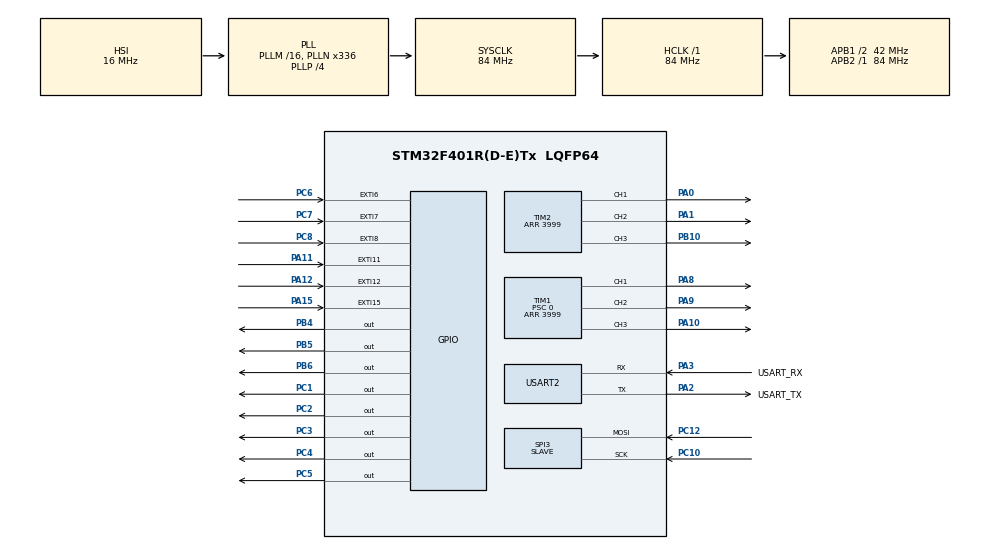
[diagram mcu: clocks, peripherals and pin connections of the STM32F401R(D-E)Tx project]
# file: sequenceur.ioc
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Mcu.Family=STM32F4
Mcu.Name=STM32F401R(D-E)Tx
Mcu.Package=LQFP64
NVIC.EXTI15_10_IRQn=true\:0\:0\:false\:false\:true\:true\:true\:true
NVIC.EXTI9_5_IRQn=true\:0\:0\:false\:false\:true\:true\:true\:true
NVIC.PVD_IRQn=true\:0\:0\:false\:false\:true\:true\:true\:true
NVIC.PriorityGroup=NVIC_PRIORITYGROUP_0
NVIC.SPI3_IRQn=true\:0\:0\:false\:false\:true\:true\:true\:true
PA0-WKUP.Signal=S_TIM2_CH1_ETR
PA1.Signal=S_TIM2_CH2
PA10.Signal=S_TIM1_CH3
PA11.GPIO_ModeDefaultEXTI=GPIO_MODE_IT_RISING_FALLING
PA11.GPIO_PuPd=GPIO_PULLUP
PA11.Signal=GPXTI11
PA12.GPIO_ModeDefaultEXTI=GPIO_MODE_IT_RISING_FALLING
PA12.GPIO_PuPd=GPIO_PULLUP
PA12.Signal=GPXTI12
PA13.GPIO_Label=TMS
PA13.Mode=Serial_Wire
PA13.Signal=SYS_JTMS-SWDIO
PA14.GPIO_Label=TCK
PA14.Mode=Serial_Wire
PA14.Signal=SYS_JTCK-SWCLK
PA15.GPIO_ModeDefaultEXTI=GPIO_MODE_IT_RISING_FALLING
PA15.GPIO_PuPd=GPIO_PULLUP
PA15.Signal=GPXTI15
PA2.GPIO_Label=USART_TX
PA2.GPIO_Mode=GPIO_MODE_AF_PP
PA2.GPIO_PuPd=GPIO_NOPULL
PA2.GPIO_Speed=GPIO_SPEED_FREQ_LOW
PA2.Mode=Asynchronous
PA2.Signal=USART2_TX
PA3.GPIO_Label=USART_RX
PA3.GPIO_Mode=GPIO_MODE_AF_PP
PA3.GPIO_PuPd=GPIO_NOPULL
PA3.GPIO_Speed=GPIO_SPEED_FREQ_LOW
PA3.Mode=Asynchronous
PA3.Signal=USART2_RX
PA8.Signal=S_TIM1_CH1
PA9.Signal=S_TIM1_CH2
PB10.Signal=S_TIM2_CH3
PB3.GPIO_Label=SWO
PB3.Signal=SYS_JTDO-SWO
PB4.Signal=GPIO_Output
PB5.Signal=GPIO_Output
PB6.Signal=GPIO_Output
PB9.GPIO_Pu=GPIO_PULLUP
PB9.Signal=I2C1_SDA
PC1.Signal=GPIO_Output
PC10.Mode=RX_Only_Simplex_Unidirect_Slave
PC10.Signal=SPI3_SCK
PC12.Mode=RX_Only_Simplex_Unidirect_Slave
PC12.Signal=SPI3_MOSI
PC14-OSC32_IN.Mode=LSE-External-Oscillator
PC14-OSC32_IN.Signal=RCC_OSC32_IN
PC15-OSC32_OUT.Mode=LSE-External-Oscillator
PC15-OSC32_OUT.Signal=RCC_OSC32_OUT
PC2.Signal=GPIO_Output
PC3.Signal=GPIO_Output
PC4.Signal=GPIO_Output
PC5.Signal=GPIO_Output
PC6.GPIO_ModeDefaultEXTI=GPIO_MODE_IT_RISING_FALLING
PC6.GPIO_PuPd=GPIO_PULLUP
PC6.Signal=GPXTI6
PC7.GPIO_ModeDefaultEXTI=GPIO_MODE_IT_RISING_FALLING
PC7.GPIO_PuPd=GPIO_PULLUP
PC7.Signal=GPXTI7
PC8.GPIO_ModeDefaultEXTI=GPIO_MODE_IT_RISING_FALLING
PC8.GPIO_PuPd=GPIO_PULLUP
PC8.Signal=GPXTI8
PH0\ -\ OSC_IN.Mode=HSE-External-Clock-Source
PH0\ -\ OSC_IN.Signal=RCC_OSC_IN
PH1\ -\ OSC_OUT.Mode=HSE-External-Clock-Source
PH1\ -\ OSC_OUT.Signal=RCC_OSC_OUT
ProjectManager.HeapSize=0x200
ProjectManager.StackSize=0x400
ProjectManager.TargetToolchain=STM32CubeIDE
RCC.48MHZClocksFreq_Value=48000000
RCC.AHBFreq_Value=84000000
RCC.APB1CLKDivider=RCC_HCLK_DIV2
RCC.APB1Freq_Value=42000000
RCC.APB1TimFreq_Value=84000000
RCC.APB2Freq_Value=84000000
RCC.APB2TimFreq_Value=84000000
RCC.CortexFreq_Value=84000000
RCC.HCLKFreq_Value=84000000
RCC.HSE_VALUE=8000000
RCC.HSI_VALUE=16000000
RCC.PLLN=336
RCC.PLLP=RCC_PLLP_DIV4
RCC.PLLQ=7
RCC.SYSCLKFreq_VALUE=84000000
RCC.SYSCLKSource=RCC_SYSCLKSOURCE_PLLCLK
RCC.VCOOutputFreq_Value=336000000
SH.S_TIM1_CH1.0=TIM1_CH1,PWM Generation1 CH1
SH.S_TIM1_CH2.0=TIM1_CH2,PWM Generation2 CH2
SH.S_TIM1_CH3.0=TIM1_CH3,PWM Generation3 CH3
SH.S_TIM2_CH1_ETR.0=TIM2_CH1,PWM Generation1 CH1
SH.S_TIM2_CH2.0=TIM2_CH2,PWM Generation2 CH2
SH.S_TIM2_CH3.0=TIM2_CH3,PWM Generation3 CH3
SPI3.Direction=SPI_DIRECTION_2LINES_RXONLY
SPI3.Mode=SPI_MODE_SLAVE
SPI3.VirtualType=VM_SLAVE
TIM1.Channel-PWM\ Generation1\ CH1=TIM_CHANNEL_1
TIM1.Channel-PWM\ Generation2\ CH2=TIM_CHANNEL_2
TIM1.Channel-PWM\ Generation3\ CH3=TIM_CHANNEL_3
TIM1.Period=3999
TIM1.Prescaler=0
TIM1.Pulse-PWM\ Generation1\ CH1=0
TIM1.Pulse-PWM\ Generation2\ CH2=0
TIM1.Pulse-PWM\ Generation3\ CH3=0
TIM2.Channel-PWM\ Generation1\ CH1=TIM_CHANNEL_1
TIM2.Channel-PWM\ Generation2\ CH2=TIM_CHANNEL_2
TIM2.Channel-PWM\ Generation3\ CH3=TIM_CHANNEL_3
TIM2.Period=3999
USART2.VirtualMode=VM_ASYNC
VP_TIM1_VS_ClockSourceINT.Mode=Internal
VP_TIM2_VS_ClockSourceINT.Mode=Internal
board=NUCLEO-F401RE

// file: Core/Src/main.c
/* USER CODE BEGIN Header */
/**
  ******************************************************************************
  * @file           : main.c
  * @brief          : Main program body
  ******************************************************************************
  * @attention
  *
  * Copyright (c) 2024 STMicroelectronics.
  * All rights reserved.
  *
  * This software is licensed under terms that can be found in the LICENSE file
  * in the root directory of this software component.
  * If no LICENSE file comes with this software, it is provided AS-IS.
  *
  ******************************************************************************
  */
/* USER CODE END Header */
#include "main.h"

/* USER CODE BEGIN Includes */
#include <stdbool.h>
#include <stdio.h>
/* USER CODE END Includes */

/* USER CODE BEGIN PD */

/* SWITCH PINS */

////////////////////////////////////////////////
//////////////////////////////
	//LES COMMANDES//
#define Q1L GPIO_PIN_1
#define Q1L_PORT GPIOC
#define Q2L GPIO_PIN_2
#define Q2L_PORT GPIOC
#define Q3L GPIO_PIN_3
#define Q3L_PORT GPIOC
#define Q1H GPIO_PIN_8
#define Q1H_PORT GPIOA
#define Q2H GPIO_PIN_9
#define Q2H_PORT GPIOA
#define Q3H GPIO_PIN_10
#define Q3H_PORT GPIOA

#define Q1L2 GPIO_PIN_4
#define Q1L2_PORT GPIOB
#define Q2L2 GPIO_PIN_5
#define Q2L2_PORT GPIOB
#define Q3L2 GPIO_PIN_6
#define Q3L2_PORT GPIOB
#define Q1H2 GPIO_PIN_0
#define Q1H2_PORT GPIOA
#define Q2H2 GPIO_PIN_1
#define Q2H2_PORT GPIOA
#define Q3H2 GPIO_PIN_10
#define Q3H2_PORT GPIOB
/////////////////////////////
/* HALL SENSORS PINS */
/////////////////////////////
////ENTREE HALL CARTE --> STM32/////
#define H1 GPIO_PIN_11
#define H1_PORT GPIOA
#define H2 GPIO_PIN_12
#define H2_PORT GPIOA
#define H3 GPIO_PIN_15
#define H3_PORT GPIOA

#define H12 GPIO_PIN_6
#define H12_PORT GPIOC
#define H22 GPIO_PIN_7
#define H22_PORT GPIOC
#define H32 GPIO_PIN_8
#define H32_PORT GPIOC
/////////////////////////////

#define SFD_EXPECTED 0xA000
#define SFD_MASK 0xF000
#define CMD_MASK 0x0F00
#define VALUE_MASK 0x00FE
#define FCS_MASK 0x0001

/* USER CODE END PD */

SPI_HandleTypeDef hspi3;

TIM_HandleTypeDef htim1;
TIM_HandleTypeDef htim2;

UART_HandleTypeDef huart2;

/* USER CODE BEGIN PV */
uint8_t data_received = 0x00;
uint8_t data_to_send = 0x00;
 int a =0;
/* USER CODE END PV */

void SystemClock_Config(void);
static void MX_GPIO_Init(void);
static void MX_TIM1_Init(void);
static void MX_SPI3_Init(void);
static void MX_TIM2_Init(void);
static void MX_USART2_UART_Init(void);
/* USER CODE BEGIN PFP */

void All_GPIO_to_0_left();
void Sequence_moteur_horaire_left(uint32_t pwm);
void Sequence_moteur_antihoraire_left(uint32_t pwm);

void All_GPIO_to_0_right();
void Sequence_moteur_horaire_right(uint32_t pwm);
void Sequence_moteur_antihoraire_right(uint32_t pwm);

void process_message(uint16_t message);
bool calculate_fcs(uint8_t cmd, uint8_t value);

/* USER CODE END PFP */

int main(void)
{

  /* MCU Configuration--------------------------------------------------------*/

  /* Reset of all peripherals, Initializes the Flash interface and the Systick. */
  HAL_Init();

  /* Configure the system clock */
  SystemClock_Config();

  /* Initialize all configured peripherals */
  MX_GPIO_Init();
  MX_TIM1_Init();
  MX_SPI3_Init();
  MX_TIM2_Init();
  MX_USART2_UART_Init();
  /* USER CODE BEGIN 2 */
  HAL_TIM_PWM_Start(&htim1, TIM_CHANNEL_1);
  HAL_TIM_PWM_Start(&htim1, TIM_CHANNEL_2);
  HAL_TIM_PWM_Start(&htim1, TIM_CHANNEL_3);

  HAL_TIM_PWM_Start(&htim2, TIM_CHANNEL_1);
  HAL_TIM_PWM_Start(&htim2, TIM_CHANNEL_2);
  HAL_TIM_PWM_Start(&htim2, TIM_CHANNEL_3);

  /* USER CODE END 2 */

  /* Infinite loop */
  /* USER CODE BEGIN WHILE */
  while (1)
  {

	  //Sequence_moteur_antihoraire(2000);

	  //for(uint32_t i = 0; i < 500; i++)
	  {}

     // Ajoutez un délai pour éviter de saturer le bus
 }

    /* USER CODE END WHILE */

}

void SystemClock_Config(void)
{
  RCC_OscInitTypeDef RCC_OscInitStruct = {0};
  RCC_ClkInitTypeDef RCC_ClkInitStruct = {0};

  /** Configure the main internal regulator output voltage
  */
  __HAL_RCC_PWR_CLK_ENABLE();
  __HAL_PWR_VOLTAGESCALING_CONFIG(PWR_REGULATOR_VOLTAGE_SCALE2);

  /** Initializes the RCC Oscillators according to the specified parameters
  * in the RCC_OscInitTypeDef structure.
  */
  RCC_OscInitStruct.OscillatorType = RCC_OSCILLATORTYPE_HSI;
  RCC_OscInitStruct.HSIState = RCC_HSI_ON;
  RCC_OscInitStruct.HSICalibrationValue = RCC_HSICALIBRATION_DEFAULT;
  RCC_OscInitStruct.PLL.PLLState = RCC_PLL_ON;
  RCC_OscInitStruct.PLL.PLLSource = RCC_PLLSOURCE_HSI;
  RCC_OscInitStruct.PLL.PLLM = 16;
  RCC_OscInitStruct.PLL.PLLN = 336;
  RCC_OscInitStruct.PLL.PLLP = RCC_PLLP_DIV4;
  RCC_OscInitStruct.PLL.PLLQ = 7;
  if (HAL_RCC_OscConfig(&RCC_OscInitStruct) != HAL_OK)
  {
    Error_Handler();
  }

  /** Initializes the CPU, AHB and APB buses clocks
  */
  RCC_ClkInitStruct.ClockType = RCC_CLOCKTYPE_HCLK|RCC_CLOCKTYPE_SYSCLK
                              |RCC_CLOCKTYPE_PCLK1|RCC_CLOCKTYPE_PCLK2;
  RCC_ClkInitStruct.SYSCLKSource = RCC_SYSCLKSOURCE_PLLCLK;
  RCC_ClkInitStruct.AHBCLKDivider = RCC_SYSCLK_DIV1;
  RCC_ClkInitStruct.APB1CLKDivider = RCC_HCLK_DIV2;
  RCC_ClkInitStruct.APB2CLKDivider = RCC_HCLK_DIV1;

  if (HAL_RCC_ClockConfig(&RCC_ClkInitStruct, FLASH_LATENCY_2) != HAL_OK)
  {
    Error_Handler();
  }
}

static void MX_SPI3_Init(void)
{

  /* SPI3 parameter configuration*/
  hspi3.Instance = SPI3;
  hspi3.Init.Mode = SPI_MODE_SLAVE;
  hspi3.Init.Direction = SPI_DIRECTION_2LINES_RXONLY;
  hspi3.Init.DataSize = SPI_DATASIZE_8BIT;
  hspi3.Init.CLKPolarity = SPI_POLARITY_LOW;
  hspi3.Init.CLKPhase = SPI_PHASE_1EDGE;
  hspi3.Init.NSS = SPI_NSS_SOFT;
  hspi3.Init.FirstBit = SPI_FIRSTBIT_MSB;
  hspi3.Init.TIMode = SPI_TIMODE_DISABLE;
  hspi3.Init.CRCCalculation = SPI_CRCCALCULATION_DISABLE;
  hspi3.Init.CRCPolynomial = 10;
  if (HAL_SPI_Init(&hspi3) != HAL_OK)
  {
    Error_Handler();
  }

}

static void MX_TIM1_Init(void)
{

  TIM_ClockConfigTypeDef sClockSourceConfig = {0};
  TIM_MasterConfigTypeDef sMasterConfig = {0};
  TIM_OC_InitTypeDef sConfigOC = {0};
  TIM_BreakDeadTimeConfigTypeDef sBreakDeadTimeConfig = {0};

  htim1.Instance = TIM1;
  htim1.Init.Prescaler = 0;
  htim1.Init.CounterMode = TIM_COUNTERMODE_UP;
  htim1.Init.Period = 3999;
  htim1.Init.ClockDivision = TIM_CLOCKDIVISION_DIV1;
  htim1.Init.RepetitionCounter = 0;
  htim1.Init.AutoReloadPreload = TIM_AUTORELOAD_PRELOAD_DISABLE;
  if (HAL_TIM_Base_Init(&htim1) != HAL_OK)
  {
    Error_Handler();
  }
  sClockSourceConfig.ClockSource = TIM_CLOCKSOURCE_INTERNAL;
  if (HAL_TIM_ConfigClockSource(&htim1, &sClockSourceConfig) != HAL_OK)
  {
    Error_Handler();
  }
  if (HAL_TIM_PWM_Init(&htim1) != HAL_OK)
  {
    Error_Handler();
  }
  sMasterConfig.MasterOutputTrigger = TIM_TRGO_RESET;
  sMasterConfig.MasterSlaveMode = TIM_MASTERSLAVEMODE_DISABLE;
  if (HAL_TIMEx_MasterConfigSynchronization(&htim1, &sMasterConfig) != HAL_OK)
  {
    Error_Handler();
  }
  sConfigOC.OCMode = TIM_OCMODE_PWM1;
  sConfigOC.Pulse = 0;
  sConfigOC.OCPolarity = TIM_OCPOLARITY_HIGH;
  sConfigOC.OCNPolarity = TIM_OCNPOLARITY_HIGH;
  sConfigOC.OCFastMode = TIM_OCFAST_DISABLE;
  sConfigOC.OCIdleState = TIM_OCIDLESTATE_RESET;
  sConfigOC.OCNIdleState = TIM_OCNIDLESTATE_RESET;
  if (HAL_TIM_PWM_ConfigChannel(&htim1, &sConfigOC, TIM_CHANNEL_1) != HAL_OK)
  {
    Error_Handler();
  }
  if (HAL_TIM_PWM_ConfigChannel(&htim1, &sConfigOC, TIM_CHANNEL_2) != HAL_OK)
  {
    Error_Handler();
  }
  if (HAL_TIM_PWM_ConfigChannel(&htim1, &sConfigOC, TIM_CHANNEL_3) != HAL_OK)
  {
    Error_Handler();
  }
  sBreakDeadTimeConfig.OffStateRunMode = TIM_OSSR_DISABLE;
  sBreakDeadTimeConfig.OffStateIDLEMode = TIM_OSSI_DISABLE;
  sBreakDeadTimeConfig.LockLevel = TIM_LOCKLEVEL_OFF;
  sBreakDeadTimeConfig.DeadTime = 0;
  sBreakDeadTimeConfig.BreakState = TIM_BREAK_DISABLE;
  sBreakDeadTimeConfig.BreakPolarity = TIM_BREAKPOLARITY_HIGH;
  sBreakDeadTimeConfig.AutomaticOutput = TIM_AUTOMATICOUTPUT_DISABLE;
  if (HAL_TIMEx_ConfigBreakDeadTime(&htim1, &sBreakDeadTimeConfig) != HAL_OK)
  {
    Error_Handler();
  }
  HAL_TIM_MspPostInit(&htim1);

}

static void MX_TIM2_Init(void)
{

  TIM_ClockConfigTypeDef sClockSourceConfig = {0};
  TIM_MasterConfigTypeDef sMasterConfig = {0};
  TIM_OC_InitTypeDef sConfigOC = {0};

  htim2.Instance = TIM2;
  htim2.Init.Prescaler = 0;
  htim2.Init.CounterMode = TIM_COUNTERMODE_UP;
  htim2.Init.Period = 3999;
  htim2.Init.ClockDivision = TIM_CLOCKDIVISION_DIV1;
  htim2.Init.AutoReloadPreload = TIM_AUTORELOAD_PRELOAD_DISABLE;
  if (HAL_TIM_Base_Init(&htim2) != HAL_OK)
  {
    Error_Handler();
  }
  sClockSourceConfig.ClockSource = TIM_CLOCKSOURCE_INTERNAL;
  if (HAL_TIM_ConfigClockSource(&htim2, &sClockSourceConfig) != HAL_OK)
  {
    Error_Handler();
  }
  if (HAL_TIM_PWM_Init(&htim2) != HAL_OK)
  {
    Error_Handler();
  }
  sMasterConfig.MasterOutputTrigger = TIM_TRGO_RESET;
  sMasterConfig.MasterSlaveMode = TIM_MASTERSLAVEMODE_DISABLE;
  if (HAL_TIMEx_MasterConfigSynchronization(&htim2, &sMasterConfig) != HAL_OK)
  {
    Error_Handler();
  }
  sConfigOC.OCMode = TIM_OCMODE_PWM1;
  sConfigOC.Pulse = 0;
  sConfigOC.OCPolarity = TIM_OCPOLARITY_HIGH;
  sConfigOC.OCFastMode = TIM_OCFAST_DISABLE;
  if (HAL_TIM_PWM_ConfigChannel(&htim2, &sConfigOC, TIM_CHANNEL_1) != HAL_OK)
  {
    Error_Handler();
  }
  if (HAL_TIM_PWM_ConfigChannel(&htim2, &sConfigOC, TIM_CHANNEL_2) != HAL_OK)
  {
    Error_Handler();
  }
  if (HAL_TIM_PWM_ConfigChannel(&htim2, &sConfigOC, TIM_CHANNEL_3) != HAL_OK)
  {
    Error_Handler();
  }
  HAL_TIM_MspPostInit(&htim2);

}

static void MX_USART2_UART_Init(void)
{

  huart2.Instance = USART2;
  huart2.Init.BaudRate = 115200;
  huart2.Init.WordLength = UART_WORDLENGTH_8B;
  huart2.Init.StopBits = UART_STOPBITS_1;
  huart2.Init.Parity = UART_PARITY_NONE;
  huart2.Init.Mode = UART_MODE_TX_RX;
  huart2.Init.HwFlowCtl = UART_HWCONTROL_NONE;
  huart2.Init.OverSampling = UART_OVERSAMPLING_16;
  if (HAL_UART_Init(&huart2) != HAL_OK)
  {
    Error_Handler();
  }

}

static void MX_GPIO_Init(void)
{
  GPIO_InitTypeDef GPIO_InitStruct = {0};

  /* GPIO Ports Clock Enable */
  __HAL_RCC_GPIOC_CLK_ENABLE();
  __HAL_RCC_GPIOH_CLK_ENABLE();
  __HAL_RCC_GPIOA_CLK_ENABLE();
  __HAL_RCC_GPIOB_CLK_ENABLE();

  /*Configure GPIO pin Output Level */
  HAL_GPIO_WritePin(GPIOC, GPIO_PIN_1|GPIO_PIN_2|GPIO_PIN_3|GPIO_PIN_4
                          |GPIO_PIN_5, GPIO_PIN_RESET);

  /*Configure GPIO pin Output Level */
  HAL_GPIO_WritePin(GPIOB, GPIO_PIN_4|GPIO_PIN_5|GPIO_PIN_6, GPIO_PIN_RESET);

  /*Configure GPIO pins : PC1 PC2 PC3 PC4
                           PC5 */
  GPIO_InitStruct.Pin = GPIO_PIN_1|GPIO_PIN_2|GPIO_PIN_3|GPIO_PIN_4
                          |GPIO_PIN_5;
  GPIO_InitStruct.Mode = GPIO_MODE_OUTPUT_PP;
  GPIO_InitStruct.Pull = GPIO_NOPULL;
  GPIO_InitStruct.Speed = GPIO_SPEED_FREQ_LOW;
  HAL_GPIO_Init(GPIOC, &GPIO_InitStruct);

  /*Configure GPIO pins : PC6 PC7 PC8 */
  GPIO_InitStruct.Pin = GPIO_PIN_6|GPIO_PIN_7|GPIO_PIN_8;
  GPIO_InitStruct.Mode = GPIO_MODE_IT_RISING_FALLING;
  GPIO_InitStruct.Pull = GPIO_PULLUP;
  HAL_GPIO_Init(GPIOC, &GPIO_InitStruct);

  /*Configure GPIO pins : PA11 PA12 PA15 */
  GPIO_InitStruct.Pin = GPIO_PIN_11|GPIO_PIN_12|GPIO_PIN_15;
  GPIO_InitStruct.Mode = GPIO_MODE_IT_RISING_FALLING;
  GPIO_InitStruct.Pull = GPIO_PULLUP;
  HAL_GPIO_Init(GPIOA, &GPIO_InitStruct);

  /*Configure GPIO pins : PB4 PB5 PB6 */
  GPIO_InitStruct.Pin = GPIO_PIN_4|GPIO_PIN_5|GPIO_PIN_6;
  GPIO_InitStruct.Mode = GPIO_MODE_OUTPUT_PP;
  GPIO_InitStruct.Pull = GPIO_NOPULL;
  GPIO_InitStruct.Speed = GPIO_SPEED_FREQ_LOW;
  HAL_GPIO_Init(GPIOB, &GPIO_InitStruct);

  /*Configure GPIO pin : PB9 */
  GPIO_InitStruct.Pin = GPIO_PIN_9;
  GPIO_InitStruct.Mode = GPIO_MODE_AF_OD;
  GPIO_InitStruct.Pull = GPIO_PULLUP;
  GPIO_InitStruct.Speed = GPIO_SPEED_FREQ_VERY_HIGH;
  GPIO_InitStruct.Alternate = GPIO_AF4_I2C1;
  HAL_GPIO_Init(GPIOB, &GPIO_InitStruct);

  /* EXTI interrupt init*/
  HAL_NVIC_SetPriority(EXTI9_5_IRQn, 0, 0);
  HAL_NVIC_EnableIRQ(EXTI9_5_IRQn);

  HAL_NVIC_SetPriority(EXTI15_10_IRQn, 0, 0);
  HAL_NVIC_EnableIRQ(EXTI15_10_IRQn);

}

/* USER CODE BEGIN 4 */
void Sequence_moteur_horaire_left(uint32_t pwm){

	GPIO_PinState H1_State = HAL_GPIO_ReadPin(H1_PORT, H1);
	GPIO_PinState H2_State = HAL_GPIO_ReadPin(H2_PORT, H2);
	GPIO_PinState H3_State = HAL_GPIO_ReadPin(H3_PORT, H3);

	All_GPIO_to_0_left();

    if(H1_State == GPIO_PIN_SET && H2_State == GPIO_PIN_RESET && H3_State == GPIO_PIN_SET ){ // 1
    	__HAL_TIM_SET_COMPARE(&htim1, TIM_CHANNEL_1, pwm);
        HAL_GPIO_WritePin(Q2L_PORT, Q2L, GPIO_PIN_SET);
    }
    else if( H1_State == GPIO_PIN_SET && H2_State == GPIO_PIN_RESET && H3_State == GPIO_PIN_RESET ){ // 2
    	__HAL_TIM_SET_COMPARE(&htim1, TIM_CHANNEL_1, pwm);
        HAL_GPIO_WritePin(Q3L_PORT, Q3L, GPIO_PIN_SET);
    }
    else if(H1_State == GPIO_PIN_SET && H2_State == GPIO_PIN_SET && H3_State == GPIO_PIN_RESET ){ // 3
    	__HAL_TIM_SET_COMPARE(&htim1, TIM_CHANNEL_2, pwm);
        HAL_GPIO_WritePin(Q3L_PORT, Q3L, GPIO_PIN_SET);
    }
    else if(H1_State == GPIO_PIN_RESET && H2_State == GPIO_PIN_SET && H3_State == GPIO_PIN_RESET){ // 4
        HAL_GPIO_WritePin(Q1L_PORT, Q1L, GPIO_PIN_SET);
        __HAL_TIM_SET_COMPARE(&htim1, TIM_CHANNEL_2, pwm);																																																																																																																																																																																																																																																																																																																																																														__HAL_TIM_SET_COMPARE(&htim1, TIM_CHANNEL_2, pwm);
    }
    else if(H1_State == GPIO_PIN_RESET && H2_State == GPIO_PIN_SET && H3_State == GPIO_PIN_SET){ // 5
        HAL_GPIO_WritePin(Q1L_PORT, Q1L, GPIO_PIN_SET);
        __HAL_TIM_SET_COMPARE(&htim1, TIM_CHANNEL_3, pwm);
    }
    else if(H1_State == GPIO_PIN_RESET && H2_State == GPIO_PIN_RESET && H3_State == GPIO_PIN_SET){ // 6
        HAL_GPIO_WritePin(Q2L_PORT, Q2L, GPIO_PIN_SET);
        __HAL_TIM_SET_COMPARE(&htim1, TIM_CHANNEL_3, pwm);
    }
}

void Sequence_moteur_horaire_right(uint32_t pwm){

	GPIO_PinState H12_State = HAL_GPIO_ReadPin(H12_PORT, H12);
	GPIO_PinState H22_State = HAL_GPIO_ReadPin(H22_PORT, H22);
	GPIO_PinState H32_State = HAL_GPIO_ReadPin(H32_PORT, H32);

	All_GPIO_to_0_right();

    if(H12_State == GPIO_PIN_SET && H22_State == GPIO_PIN_RESET && H32_State == GPIO_PIN_SET ){ // 1
    	__HAL_TIM_SET_COMPARE(&htim2, TIM_CHANNEL_1, pwm);
        HAL_GPIO_WritePin(Q2L2_PORT, Q2L2, GPIO_PIN_SET);
    }
    else if( H12_State == GPIO_PIN_SET && H22_State == GPIO_PIN_RESET && H32_State == GPIO_PIN_RESET ){ // 2
    	__HAL_TIM_SET_COMPARE(&htim2, TIM_CHANNEL_1, pwm);
        HAL_GPIO_WritePin(Q3L2_PORT, Q3L2, GPIO_PIN_SET);
    }
    else if(H12_State == GPIO_PIN_SET && H22_State == GPIO_PIN_SET && H32_State == GPIO_PIN_RESET ){ // 3
    	__HAL_TIM_SET_COMPARE(&htim2, TIM_CHANNEL_2, pwm);
        HAL_GPIO_WritePin(Q3L2_PORT, Q3L2, GPIO_PIN_SET);
    }
    else if(H12_State == GPIO_PIN_RESET && H22_State == GPIO_PIN_SET && H32_State == GPIO_PIN_RESET){ // 4
        HAL_GPIO_WritePin(Q1L2_PORT, Q1L2, GPIO_PIN_SET);
        __HAL_TIM_SET_COMPARE(&htim2, TIM_CHANNEL_2, pwm);
    }
    else if(H12_State == GPIO_PIN_RESET && H22_State == GPIO_PIN_SET && H32_State == GPIO_PIN_SET){ // 5
        HAL_GPIO_WritePin(Q1L_PORT, Q1L, GPIO_PIN_SET);
        __HAL_TIM_SET_COMPARE(&htim1, TIM_CHANNEL_3, pwm);
    }
    else if(H12_State == GPIO_PIN_RESET && H22_State == GPIO_PIN_RESET && H32_State == GPIO_PIN_SET){ // 6
        HAL_GPIO_WritePin(Q2L2_PORT, Q2L2, GPIO_PIN_SET);
        __HAL_TIM_SET_COMPARE(&htim2, TIM_CHANNEL_3, pwm);
    }
}

void Sequence_moteur_antihoraire_left(uint32_t pwm){

	GPIO_PinState H1_State = HAL_GPIO_ReadPin(H1_PORT, H1);
	GPIO_PinState H2_State = HAL_GPIO_ReadPin(H2_PORT, H2);
	GPIO_PinState H3_State = HAL_GPIO_ReadPin(H3_PORT, H3);

	All_GPIO_to_0_left();

        if(H3_State == GPIO_PIN_RESET && H1_State == GPIO_PIN_SET && H2_State == GPIO_PIN_SET){
            __HAL_TIM_SET_COMPARE(&htim1, TIM_CHANNEL_3, pwm);
            HAL_GPIO_WritePin(Q2L_PORT, Q2L, GPIO_PIN_SET);
        }
        else if(H1_State == GPIO_PIN_RESET && H2_State == GPIO_PIN_RESET && H3_State == GPIO_PIN_SET){
            HAL_GPIO_WritePin(Q3L_PORT, Q3L, GPIO_PIN_SET);
            __HAL_TIM_SET_COMPARE(&htim1, TIM_CHANNEL_2, pwm);
        }

        else if(H3_State == GPIO_PIN_SET && H1_State == GPIO_PIN_RESET && H2_State == GPIO_PIN_SET){
            __HAL_TIM_SET_COMPARE(&htim1, TIM_CHANNEL_1, pwm);
            HAL_GPIO_WritePin(Q3L_PORT, Q3L, GPIO_PIN_SET);
        }
        else if(H1_State == GPIO_PIN_SET && H2_State == GPIO_PIN_RESET && H3_State == GPIO_PIN_RESET){
            HAL_GPIO_WritePin(Q1L_PORT, Q1L, GPIO_PIN_SET);
            __HAL_TIM_SET_COMPARE(&htim1, TIM_CHANNEL_3, pwm);
        }

        else if(H3_State == GPIO_PIN_SET && H1_State == GPIO_PIN_SET && H2_State == GPIO_PIN_RESET){
            __HAL_TIM_SET_COMPARE(&htim1, TIM_CHANNEL_2, pwm);
            HAL_GPIO_WritePin(Q1L_PORT, Q1L, GPIO_PIN_SET);
        }
        else if(H1_State == GPIO_PIN_RESET && H2_State == GPIO_PIN_SET && H3_State == GPIO_PIN_RESET){
            HAL_GPIO_WritePin(Q2L_PORT, Q2L, GPIO_PIN_SET);
            __HAL_TIM_SET_COMPARE(&htim1, TIM_CHANNEL_1, pwm);
        }
}
void Sequence_moteur_antihoraire_right(uint32_t pwm){

	GPIO_PinState H12_State = HAL_GPIO_ReadPin(H12_PORT, H12);
	GPIO_PinState H22_State = HAL_GPIO_ReadPin(H22_PORT, H22);
	GPIO_PinState H32_State = HAL_GPIO_ReadPin(H32_PORT, H32);

	All_GPIO_to_0_right();

        if(H32_State == GPIO_PIN_RESET && H12_State == GPIO_PIN_SET && H22_State == GPIO_PIN_SET){
            __HAL_TIM_SET_COMPARE(&htim2, TIM_CHANNEL_3, pwm);
            HAL_GPIO_WritePin(Q2L2_PORT, Q2L2, GPIO_PIN_SET);
        }
        else if(H12_State == GPIO_PIN_RESET && H22_State == GPIO_PIN_RESET && H32_State == GPIO_PIN_SET){
            HAL_GPIO_WritePin(Q3L2_PORT, Q3L2, GPIO_PIN_SET);
            __HAL_TIM_SET_COMPARE(&htim2, TIM_CHANNEL_2, pwm);
        }

        else if(H32_State == GPIO_PIN_SET && H12_State == GPIO_PIN_RESET && H22_State == GPIO_PIN_SET){
            __HAL_TIM_SET_COMPARE(&htim2, TIM_CHANNEL_1, pwm);
            HAL_GPIO_WritePin(Q3L2_PORT, Q3L2, GPIO_PIN_SET);
        }
        else if(H12_State == GPIO_PIN_SET && H22_State == GPIO_PIN_RESET && H32_State == GPIO_PIN_RESET){
            HAL_GPIO_WritePin(Q1L2_PORT, Q1L2, GPIO_PIN_SET);
            __HAL_TIM_SET_COMPARE(&htim2, TIM_CHANNEL_3, pwm);
        }

        else if(H32_State == GPIO_PIN_SET && H12_State == GPIO_PIN_SET && H22_State == GPIO_PIN_RESET){
            __HAL_TIM_SET_COMPARE(&htim2, TIM_CHANNEL_2, pwm);
            HAL_GPIO_WritePin(Q1L2_PORT, Q1L2, GPIO_PIN_SET);
        }
        else if(H12_State == GPIO_PIN_RESET && H22_State == GPIO_PIN_SET && H32_State == GPIO_PIN_RESET){
            HAL_GPIO_WritePin(Q2L2_PORT, Q2L2, GPIO_PIN_SET);
            __HAL_TIM_SET_COMPARE(&htim2, TIM_CHANNEL_1, pwm);
        }
}

void All_GPIO_to_0_left(){
	//permet de reset l'état des GPIO destinés à la ocmmande des ponts H
	HAL_GPIO_WritePin(Q1L_PORT, Q1L, GPIO_PIN_RESET);
	HAL_GPIO_WritePin(Q2L_PORT, Q2L, GPIO_PIN_RESET);
	HAL_GPIO_WritePin(Q3L_PORT, Q3L, GPIO_PIN_RESET);
	__HAL_TIM_SET_COMPARE(&htim1, TIM_CHANNEL_1, 0);
	__HAL_TIM_SET_COMPARE(&htim1, TIM_CHANNEL_2, 0);
	__HAL_TIM_SET_COMPARE(&htim1, TIM_CHANNEL_3, 0);
}

void All_GPIO_to_0_right(){
	//permet de reset l'état des GPIO destinés à la ocmmande des ponts H
	HAL_GPIO_WritePin(Q1L2_PORT, Q1L2, GPIO_PIN_RESET);
	HAL_GPIO_WritePin(Q2L2_PORT, Q2L2, GPIO_PIN_RESET);
	HAL_GPIO_WritePin(Q3L2_PORT, Q3L2, GPIO_PIN_RESET);
	__HAL_TIM_SET_COMPARE(&htim2, TIM_CHANNEL_1, 0);
	__HAL_TIM_SET_COMPARE(&htim2, TIM_CHANNEL_2, 0);
	__HAL_TIM_SET_COMPARE(&htim2, TIM_CHANNEL_3, 0);
}

void HAL_GPIO_EXTI_Callback(uint16_t GPIO_Pin){
	Sequence_moteur_horaire_left(2500);
  	for(uint32_t i = 0; i < 50
	; i++)
		  {}
    //Sequence_moteur_antihoraire());
}

bool calculate_fcs(uint8_t cmd, uint8_t value) {
    uint8_t combined = (cmd << 7) | value;
    uint8_t parity = 0;
    while (combined) {
        parity ^= (combined & 1);
        combined >>= 1;
    }
    return (parity & 1);
}

void process_message(uint16_t message) {
    uint16_t sfd = (message & SFD_MASK) >> 12;
    uint8_t cmd = (message & CMD_MASK) >> 8;
    uint8_t value = (message & VALUE_MASK) >> 1;
    bool fcs = (message & FCS_MASK);

    // Vérification du SFD
    if (sfd != (SFD_EXPECTED >> 12)) {
        printf("Erreur : SFD invalide\n");
        return;
    }

    // Vérification du FCS
    if (fcs != calculate_fcs(cmd, value)) {
        printf("Erreur : FCS invalide\n");
        return;
    }

    // Traitement du champ CMD
    switch (cmd) {
        case 0x1: // Marche/Arrêt moteur 1
            printf("Commande : Marche/Arrêt moteur 1, valeur : %d\n", value);
            break;
        case 0x2: // Sens de rotation moteur 1
            printf("Commande : Sens de rotation moteur 1, valeur : %d\n", value);
            break;
        case 0x4: // Configuration fréquence PWM moteur 1
            printf("Commande : Configuration fréquence PWM moteur 1, valeur : %d\n", value);
            break;
        case 0x7: // Configuration vitesse/rapport cyclique moteur 1
            printf("Commande : Configuration vitesse moteur 1, valeur : %d\n", value);
            break;
        case 0x9: // Marche/Arrêt moteur 2
            printf("Commande : Marche/Arrêt moteur 2, valeur : %d\n", value);
            break;
        case 0xA: // Sens de rotation moteur 2
            printf("Commande : Sens de rotation moteur 2, valeur : %d\n", value);
            break;
        case 0xC: // Configuration fréquence PWM moteur 2
            printf("Commande : Configuration fréquence PWM moteur 2, valeur : %d\n", value);
            break;
        case 0xF: // Configuration vitesse/rapport cyclique moteur 2
            printf("Commande : Configuration vitesse moteur 2, valeur : %d\n", value);
            break;
        default:
            printf("Commande inconnue : %d\n", cmd);
            break;
    }
}

int __io_putchar(int ch){
	HAL_UART_Transmit(&huart2, (uint8_t *)&ch,1,0xFFFF);
	return ch;
}

void HAL_SPI_RxCpltCallback(SPI_HandleTypeDef *hspi) {
    if (hspi->Instance == SPI3) {
        uint16_t received_data;
        HAL_SPI_Receive(&hspi3, (uint8_t *)&received_data, 1, HAL_MAX_DELAY);
        process_message(received_data);
    }
}

/* USER CODE END 4 */

void Error_Handler(void)
{
  __disable_irq();
  while (1)
  {
  }
}
